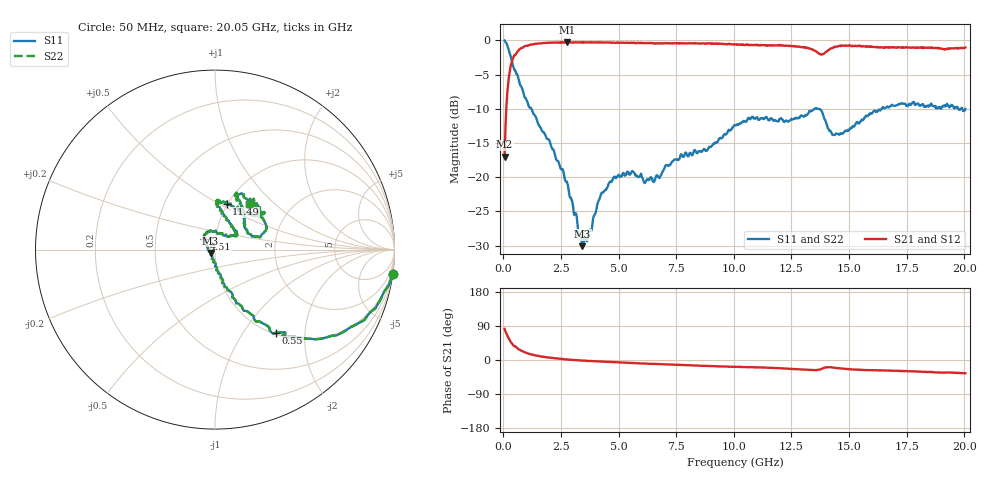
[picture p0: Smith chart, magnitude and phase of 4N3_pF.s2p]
! P/N: 500R07S4R3BV4
! Measured by Marlon
! Oct. 28, 2003
#	mhz	s	ma	r	50
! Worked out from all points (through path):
!   1001 points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, 50 MHz to 20.05 GHz, reference 50 ohm
!   highest |S21| = -0.24 dB at 2.75 GHz (marker M1); lowest = -17.0 dB at 50 MHz (marker M2)
!   group delay of S21, straight-line fit = 7.23 ps
!   lowest |S11| = -30.1 dB at 3.43 GHz (marker M3), VSWR 1.06, Z = 47.5 - j1.81 ohm
!   |S11| at or under -10 dB: 1.216 GHz to 13.52 GHz (12.31 GHz wide, 167 % of centre); 13.68 GHz to 16.42 GHz (2.734 GHz wide, 18.2 % of centre); 19.92 GHz to end of sweep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
!   |S22| runs from -30.1 to 0.0 dB; largest |S21 - S12| = 0
!   S11 on the Smith chart (normalised r, x): 50 MHz: 0, -14; 550 MHz: 1.03, -1.42; 4.51 GHz: 0.88, +0.11; 11.49 GHz: 0.99, +0.54; 20.05 GHz: 1.24, +0.70
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50  1 -7.9  0.1414 82.2  0.1414 82.2  1 -7.9
250  0.8283 -35.3  0.5626 54.0  0.5626 54.0  0.8283 -35.3
550  0.5734 -53.7  0.8008 33.8  0.8008 33.8  0.5734 -53.7
830  0.4363 -60.3  0.8864 22.8  0.8864 22.8  0.4363 -60.3
1230  0.3117 -68.1  0.9313 14.6  0.9313 14.6  0.3117 -68.1
2750  0.09308 -90.5  0.9731 1.7  0.9731 1.7  0.09308 -90.5
3390  0.03454 -132.2  0.9674 -1.2  0.9674 -1.2  0.03454 -132.2
3430  0.03136 -142.7  0.9668 -1.4  0.9668 -1.4  0.03136 -142.7
3710  0.04073 175.2  0.9671 -2.6  0.9671 -2.6  0.04073 175.2
4170  0.07001 143.8  0.9657 -3.7  0.9657 -3.7  0.07001 143.8
4510  0.08425 134.0  0.9677 -4.9  0.9677 -4.9  0.08425 134.0
5470  0.1045 109.1  0.9602 -7.5  0.9602 -7.5  0.1045 109.1
6730  0.1003 51.7  0.9505 -10.6  0.9505 -10.6  0.1003 51.7
8210  0.1456 36.8  0.9555 -14.2  0.9555 -14.2  0.1456 36.8
10050  0.2409 85.9  0.9385 -18.2  0.9385 -18.2  0.2409 85.9
11490  0.2629 75.8  0.9219 -20.6  0.9219 -20.6  0.2629 75.8
13390  0.3061 37.8  0.8588 -26.4  0.8588 -26.4  0.3061 37.8
13770  0.3118 22.3  0.7897 -24.4  0.7897 -24.4  0.3118 22.3
14370  0.2039 28.1  0.894 -20.6  0.894 -20.6  0.2039 28.1
16730  0.3242 70.2  0.8927 -27.7  0.8927 -27.7  0.3242 70.2
18510  0.3331 36.3  0.8851 -31.7  0.8851 -31.7  0.3331 36.3
20050  0.3156 53.7  0.8881 -35.0  0.8881 -35.0  0.3156 53.7
